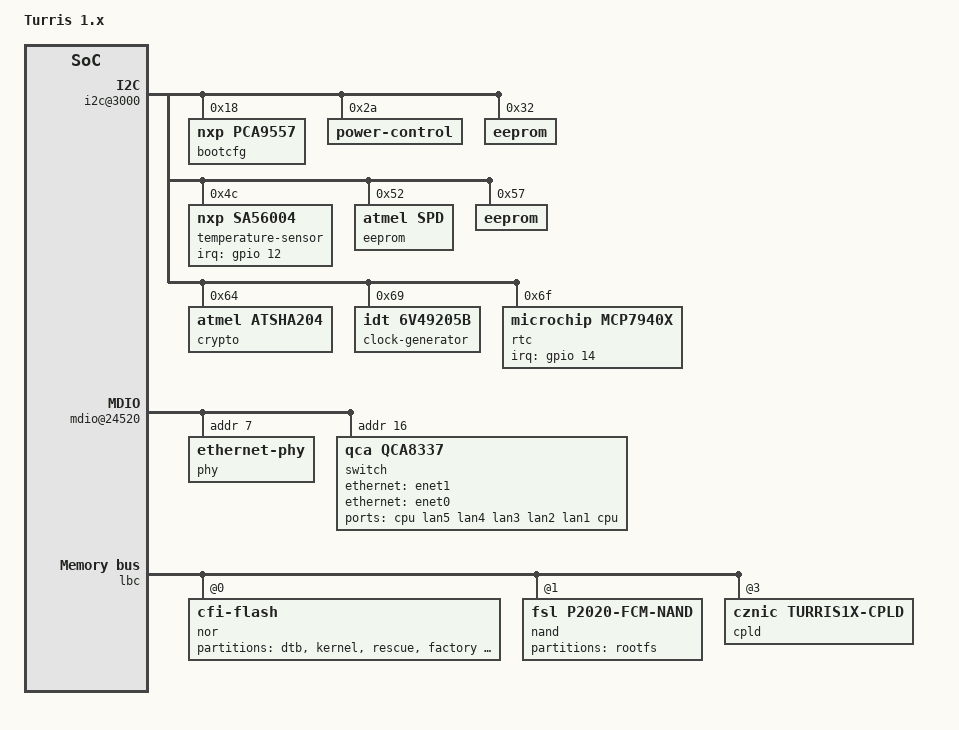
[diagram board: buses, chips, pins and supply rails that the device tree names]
// SPDX-License-Identifier: GPL-2.0+
/*
 * Turris 1.x Device Tree Source
 *
 * Copyright 2013 - 2022 CZ.NIC z.s.p.o. (http://www.nic.cz/)
 *
 * Pinout, Schematics and Altium hardware design files are open source
 * and available at: https://docs.turris.cz/hw/turris-1x/turris-1x/
 */

#include <dt-bindings/gpio/gpio.h>
#include <dt-bindings/interrupt-controller/irq.h>
#include <dt-bindings/leds/common.h>
/include/ "fsl/p2020si-pre.dtsi"

/ {
	model = "Turris 1.x";
	compatible = "cznic,turris1x", "fsl,P2020RDB-PC"; /* fsl,P2020RDB-PC is required for booting Linux */

	aliases {
		ethernet0 = &enet0;
		ethernet1 = &enet1;
		ethernet2 = &enet2;
		serial0 = &serial0;
		serial1 = &serial1;
		pci0 = &pci0;
		pci1 = &pci1;
		pci2 = &pci2;
		spi0 = &spi0;
	};

	memory {
		device_type = "memory";
	};

	soc: soc@ffe00000 {
		ranges = <0x0 0x0 0xffe00000 0x00100000>;

		i2c@3000 {
			/* PCA9557PW GPIO controller for boot config */
			gpio-controller@18 {
				compatible = "nxp,pca9557";
				label = "bootcfg";
				reg = <0x18>;
				#gpio-cells = <2>;
				gpio-controller;
				polarity = <0x00>;
			};

			/* STM32F030R8T6 MCU for power control */
			power-control@2a {
				/*
				 * Turris Power Control firmware runs on STM32F0 MCU.
				 * This firmware is open source and available at:
				 * https://gitlab.nic.cz/turris/hw/turris_power_control
				 */
				reg = <0x2a>;
			};

			/* DDR3 SPD/EEPROM PSWP instruction */
			eeprom@32 {
				reg = <0x32>;
			};

			/* SA56004ED temperature control */
			temperature-sensor@4c {
				compatible = "nxp,sa56004";
				reg = <0x4c>;
				interrupt-parent = <&gpio>;
				interrupts = <12 IRQ_TYPE_LEVEL_LOW>, /* GPIO12 - ALERT pin */
					     <13 IRQ_TYPE_LEVEL_LOW>; /* GPIO13 - CRIT pin */
				#address-cells = <1>;
				#size-cells = <0>;

				/* Local temperature sensor (SA56004ED internal) */
				channel@0 {
					reg = <0>;
					label = "board";
				};

				/* Remote temperature sensor (D+/D- connected to P2020 CPU Temperature Diode) */
				channel@1 {
					reg = <1>;
					label = "cpu";
				};
			};

			/* DDR3 SPD/EEPROM */
			eeprom@52 {
				compatible = "atmel,spd";
				reg = <0x52>;
			};

			/* MCP79402-I/ST Protected EEPROM */
			eeprom@57 {
				reg = <0x57>;
			};

			/* ATSHA204-TH-DA-T crypto module */
			crypto@64 {
				compatible = "atmel,atsha204";
				reg = <0x64>;
			};

			/* IDT6V49205BNLGI clock generator */
			clock-generator@69 {
				compatible = "idt,6v49205b";
				reg = <0x69>;
			};

			/* MCP79402-I/ST RTC */
			rtc@6f {
				compatible = "microchip,mcp7940x";
				reg = <0x6f>;
				interrupt-parent = <&gpio>;
				interrupts = <14 0>; /* GPIO14 - MFP pin */
			};
		};

		/* SPI on connector P1 */
		spi0: spi@7000 {
		};

		gpio: gpio-controller@fc00 {
			#interrupt-cells = <2>;
			interrupt-controller;
		};

		/* Connected to SMSC USB2412-DZK 2-Port USB 2.0 Hub Controller */
		usb@22000 {
			phy_type = "ulpi";
			dr_mode = "host";
		};

		enet0: ethernet@24000 {
			/* Connected to port 6 of QCA8337N-AL3C switch */
			phy-connection-type = "rgmii-id";

			fixed-link {
				speed = <1000>;
				full-duplex;
			};
		};

		mdio@24520 {
			/* KSZ9031RNXCA ethernet phy for WAN port */
			phy: ethernet-phy@7 {
				interrupts = <3 1 0 0>;
				reg = <0x7>;
			};

			/* QCA8337N-AL3C switch with integrated ethernet PHYs for LAN ports */
			switch@10 {
				compatible = "qca,qca8337";
				interrupts = <2 1 0 0>;
				reg = <0x10>;

				ports {
					#address-cells = <1>;
					#size-cells = <0>;

					port@0 {
						reg = <0>;
						label = "cpu";
						ethernet = <&enet1>;
						phy-mode = "rgmii-id";

						fixed-link {
							speed = <1000>;
							full-duplex;
						};
					};

					port@1 {
						reg = <1>;
						label = "lan5";
					};

					port@2 {
						reg = <2>;
						label = "lan4";
					};

					port@3 {
						reg = <3>;
						label = "lan3";
					};

					port@4 {
						reg = <4>;
						label = "lan2";
					};

					port@5 {
						reg = <5>;
						label = "lan1";
					};

					port@6 {
						reg = <6>;
						label = "cpu";
						ethernet = <&enet0>;
						phy-mode = "rgmii-id";

						fixed-link {
							speed = <1000>;
							full-duplex;
						};
					};
				};
			};
		};

		ptp_clock@24e00 {
			fsl,tclk-period = <5>;
			fsl,tmr-prsc = <200>;
			fsl,tmr-add = <0xcccccccd>;
			fsl,tmr-fiper1 = <0x3b9ac9fb>;
			fsl,tmr-fiper2 = <0x0001869b>;
			fsl,max-adj = <249999999>;
		};

		enet1: ethernet@25000 {
			/* Connected to port 0 of QCA8337N-AL3C switch */
			phy-connection-type = "rgmii-id";

			fixed-link {
				speed = <1000>;
				full-duplex;
			};
		};

		mdio@25520 {
			status = "disabled";
		};

		enet2: ethernet@26000 {
			/* Connected to KSZ9031RNXCA ethernet phy (WAN port) */
			label = "wan";
			phy-handle = <&phy>;
			phy-connection-type = "rgmii-id";
		};

		mdio@26520 {
			status = "disabled";
		};

		sdhc@2e000 {
			bus-width = <4>;
			cd-gpios = <&gpio 8 GPIO_ACTIVE_LOW>;
		};
	};

	lbc: localbus@ffe05000 {
		reg = <0 0xffe05000 0 0x1000>;

		ranges = <0x0 0x0 0x0 0xef000000 0x01000000>, /* NOR */
			 <0x1 0x0 0x0 0xff800000 0x00040000>, /* NAND */
			 <0x3 0x0 0x0 0xffa00000 0x00020000>; /* CPLD */

		/* S29GL128P90TFIR10 NOR */
		nor@0,0 {
			compatible = "cfi-flash";
			reg = <0x0 0x0 0x01000000>;
			bank-width = <2>;
			device-width = <1>;

			partitions {
				compatible = "fixed-partitions";
				#address-cells = <1>;
				#size-cells = <1>;

				partition@0 {
					/* 128 kB for Device Tree Blob */
					reg = <0x00000000 0x00020000>;
					label = "dtb";
				};

				partition@20000 {
					/* 1.7 MB for Linux Kernel Image */
					reg = <0x00020000 0x001a0000>;
					label = "kernel";
				};

				partition@1c0000 {
					/* 1.5 MB for Rescue JFFS2 Root File System */
					reg = <0x001c0000 0x00180000>;
					label = "rescue";
				};

				partition@340000 {
					/* 11 MB for TAR.XZ Archive with Factory content of NAND Root File System */
					reg = <0x00340000 0x00b00000>;
					label = "factory";
				};

				partition@e40000 {
					/* 768 kB for Certificates JFFS2 File System */
					reg = <0x00e40000 0x000c0000>;
					label = "certificates";
				};

				/* free unused space 0x00f00000-0x00f20000 */

				partition@f20000 {
					/* 128 kB for U-Boot Environment Variables */
					reg = <0x00f20000 0x00020000>;
					label = "u-boot-env";
				};

				partition@f40000 {
					/* 768 kB for U-Boot Bootloader Image */
					reg = <0x00f40000 0x000c0000>;
					label = "u-boot";
				};
			};
		};

		/* MT29F2G08ABAEAWP:E NAND */
		nand@1,0 {
			compatible = "fsl,p2020-fcm-nand", "fsl,elbc-fcm-nand";
			reg = <0x1 0x0 0x00040000>;
			nand-ecc-mode = "soft";
			nand-ecc-algo = "bch";

			partitions {
				compatible = "fixed-partitions";
				#address-cells = <1>;
				#size-cells = <1>;

				partition@0 {
					/* 256 MB for UBI with one volume: UBIFS Root File System */
					reg = <0x00000000 0x10000000>;
					label = "rootfs";
				};
			};
		};

		/* LCMXO1200C-3FTN256C FPGA */
		cpld@3,0 {
			/*
			 * Turris CPLD firmware which runs on this Lattice FPGA,
			 * is extended version of P1021RDB-PC CPLD v4.1 firmware.
			 * It is backward compatible with its original version
			 * and the only extension is support for Turris LEDs.
			 * Turris CPLD firmware is open source and available at:
			 * https://gitlab.nic.cz/turris/hw/turris_cpld/-/blob/master/CZ_NIC_Router_CPLD.v
			 */
			compatible = "cznic,turris1x-cpld", "fsl,p1021rdb-pc-cpld", "simple-bus", "syscon";
			reg = <0x3 0x0 0x30>;
			#address-cells = <1>;
			#size-cells = <1>;
			ranges = <0x0 0x3 0x0 0x00020000>;

			/* MAX6370KA+T watchdog */
			watchdog@2 {
				/*
				 * CPLD firmware maps SET0, SET1 and SET2
				 * input logic of MAX6370KA+T chip to CPLD
				 * memory space at byte offset 0x2. WDI
				 * input logic is outside of the CPLD and
				 * connected via external GPIO.
				 */
				compatible = "maxim,max6370";
				reg = <0x02 0x01>;
				gpios = <&gpio 11 GPIO_ACTIVE_LOW>;
			};

			reboot@d {
				compatible = "syscon-reboot";
				reg = <0x0d 0x01>;
				offset = <0x0d>;
				mask = <0x01>;
				value = <0x01>;
			};

			led-controller@13 {
				/*
				 * LEDs are controlled by CPLD firmware.
				 * All five LAN LEDs share common RGB settings
				 * and so it is not possible to set different
				 * colors on different LAN ports.
				 */
				compatible = "cznic,turris1x-leds";
				reg = <0x13 0x1d>;
				#address-cells = <1>;
				#size-cells = <0>;

				multi-led@0 {
					reg = <0x0>;
					color = <LED_COLOR_ID_RGB>;
					function = LED_FUNCTION_WAN;
				};

				multi-led@1 {
					reg = <0x1>;
					color = <LED_COLOR_ID_RGB>;
					function = LED_FUNCTION_LAN;
					function-enumerator = <5>;
				};

				multi-led@2 {
					reg = <0x2>;
					color = <LED_COLOR_ID_RGB>;
					function = LED_FUNCTION_LAN;
					function-enumerator = <4>;
				};

				multi-led@3 {
					reg = <0x3>;
					color = <LED_COLOR_ID_RGB>;
					function = LED_FUNCTION_LAN;
					function-enumerator = <3>;
				};

				multi-led@4 {
					reg = <0x4>;
					color = <LED_COLOR_ID_RGB>;
					function = LED_FUNCTION_LAN;
					function-enumerator = <2>;
				};

				multi-led@5 {
					reg = <0x5>;
					color = <LED_COLOR_ID_RGB>;
					function = LED_FUNCTION_LAN;
					function-enumerator = <1>;
				};

				multi-led@6 {
					reg = <0x6>;
					color = <LED_COLOR_ID_RGB>;
					function = LED_FUNCTION_WLAN;
				};

				multi-led@7 {
					reg = <0x7>;
					color = <LED_COLOR_ID_RGB>;
					function = LED_FUNCTION_POWER;
				};
			};
		};
	};

	pci2: pcie@ffe08000 {
		/*
		 * PCIe bus for on-board TUSB7340RKM USB 3.0 xHCI controller.
		 * This xHCI controller is available only on Turris 1.1 boards.
		 * Turris 1.0 boards have nothing connected to this PCIe bus,
		 * so system would see only PCIe Root Port of this PCIe Root
		 * Complex. TUSB7340RKM xHCI controller has four SuperSpeed
		 * channels. Channel 0 is connected to the front USB 3.0 port,
		 * channel 1 (but only USB 2.0 subset) to USB 2.0 pins on mPCIe
		 * slot 1 (CN5), channels 2 and 3 to connector P600.
		 *
		 * P2020 PCIe Root Port does not use PCIe MEM and xHCI controller
		 * uses 64kB + 8kB of PCIe MEM. No PCIe IO is used or required.
		 * So allocate 128kB of PCIe MEM for this PCIe bus.
		 */
		reg = <0 0xffe08000 0 0x1000>;
		ranges = <0x02000000 0x0 0xc0000000 0 0xc0000000 0x0 0x00020000>, /* MEM */
			 <0x01000000 0x0 0x00000000 0 0xffc20000 0x0 0x00010000>; /* IO */

		pcie@0 {
			ranges;
		};
	};

	pci1: pcie@ffe09000 {
		/* PCIe bus on mPCIe slot 2 (CN6) for expansion mPCIe card */
		reg = <0 0xffe09000 0 0x1000>;
		ranges = <0x02000000 0x0 0xa0000000 0 0xa0000000 0x0 0x20000000>, /* MEM */
			 <0x01000000 0x0 0x00000000 0 0xffc10000 0x0 0x00010000>; /* IO */

		pcie@0 {
			ranges;
		};
	};

	pci0: pcie@ffe0a000 {
		/*
		 * PCIe bus on mPCIe slot 1 (CN5) for expansion mPCIe card.
		 * Turris 1.1 boards have in this mPCIe slot additional USB 2.0
		 * pins via channel 1 of TUSB7340RKM xHCI controller and also
		 * additional SIM card slot, both for USB-based WWAN cards.
		 */
		reg = <0 0xffe0a000 0 0x1000>;
		ranges = <0x02000000 0x0 0x80000000 0 0x80000000 0x0 0x20000000>, /* MEM */
			 <0x01000000 0x0 0x00000000 0 0xffc00000 0x0 0x00010000>; /* IO */

		pcie@0 {
			ranges;
		};
	};
};

/include/ "fsl/p2020si-post.dtsi"
